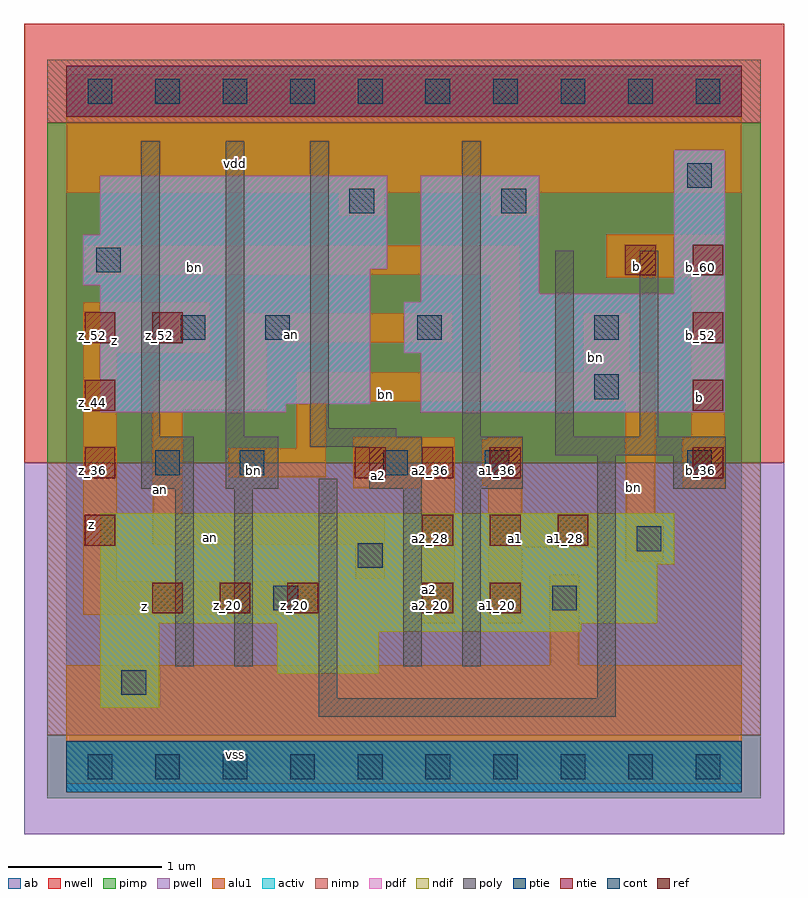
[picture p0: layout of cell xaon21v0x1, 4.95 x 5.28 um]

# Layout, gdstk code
import gdstk
lib = gdstk.Library(unit=1e-6, precision=2.5e-09)
def R(c, l, rs):  # rectangles x0, y0, x1, y1
    for r in rs: c.add(gdstk.rectangle(r[:2], r[2:], *l))
def A(c, l, x, y, w, h, nx, ny, dx, dy):  # array of equal rectangles
    R(c, l, [(x+i*dx, y+j*dy, x+i*dx+w, y+j*dy+h) for i in range(nx) for j in range(ny)])
ndif = (3, 0)
pdif = (4, 0)
ntie = (5, 0)
ptie = (6, 0)
ref = (24, 0)
cont = (25, 0)
pwell = (41, 0)
nwell = (42, 0)
activ = (43, 0)
pimp = (44, 0)
nimp = (45, 0)
poly = (46, 0)
alu1 = (49, 0)
ab = (63, 0)

xaon21v0x1 = lib.new_cell('xaon21v0x1')
R(xaon21v0x1, ndif, [(0.22,0.385,0.605,0.935), (1.375,0.605,2.035,0.88), (1.375,0.88,3.355,0.935), (0.22,0.935,3.85,1.32), (0.22,1.32,3.96,1.65)])
R(xaon21v0x1, pdif, [(0.22,2.31,1.43,2.365), (2.31,2.31,4.29,2.695), (0.22,2.365,1.98,3.135), (2.2,2.695,4.29,3.025), (2.31,3.025,4.29,3.08), (2.31,3.08,3.08,3.85), (3.96,3.08,4.29,4.015), (0.11,3.135,1.98,3.245), (0.11,3.245,2.09,3.465), (0.22,3.465,2.09,3.85)])
R(xaon21v0x1, ntie, [(0,4.235,4.4,4.565)])
R(xaon21v0x1, ptie, [(0,-0.165,4.4,0.165)])
A(xaon21v0x1, ref, 0.56, 1, 0.2, 0.2, 3, 1, 0.44, 0)
A(xaon21v0x1, ref, 0.12, 1.44, 0.2, 0.2, 1, 4, 0, 0.44)
A(xaon21v0x1, ref, 2.32, 1.44, 0.2, 0.2, 3, 1, 0.44, 0)
A(xaon21v0x1, ref, 1.88, 1.88, 0.2, 0.2, 3, 1, 0.44, 0)
A(xaon21v0x1, ref, 4.08, 1.88, 0.2, 0.2, 1, 4, 0, 0.44)
R(xaon21v0x1, ref, [(2.32,1,2.52,1.2), (2.76,1,2.96,1.2), (0.56,2.76,0.76,2.96), (3.64,3.2,3.84,3.4)])
A(xaon21v0x1, cont, 0.14, -0.08, 0.16, 0.16, 10, 2, 0.44, 4.4)
R(xaon21v0x1, cont, [(0.36,0.47,0.52,0.63), (1.35,1.02,1.51,1.18), (3.165,1.02,3.325,1.18), (1.9,1.295,2.06,1.455), (3.715,1.405,3.875,1.565), (0.58,1.9,0.74,2.06), (1.13,1.9,1.29,2.06), (2.065,1.9,2.225,2.06), (2.725,1.9,2.885,2.06), (4.045,1.9,4.205,2.06), (3.44,2.395,3.6,2.555), (0.745,2.78,0.905,2.94), (1.295,2.78,1.455,2.94), (2.285,2.78,2.445,2.94), (3.44,2.78,3.6,2.94), (0.195,3.22,0.355,3.38), (1.845,3.605,2.005,3.765), (2.835,3.605,2.995,3.765), (4.045,3.77,4.205,3.93)])
R(xaon21v0x1, pwell, [(-0.275,-0.44,4.675,1.98)])
R(xaon21v0x1, nwell, [(-0.275,1.98,4.675,4.84)])
R(xaon21v0x1, activ, [(0,-0.165,4.4,0.165), (0.22,0.385,0.605,0.935), (1.375,0.605,2.035,0.88), (1.375,0.88,3.355,0.935), (0.22,0.935,3.85,1.32), (0.22,1.32,3.96,1.65), (0.22,2.31,1.43,2.365), (2.31,2.31,4.29,2.695), (0.22,2.365,1.98,3.135), (2.2,2.695,4.29,3.025), (2.31,3.025,4.29,3.08), (2.31,3.08,3.08,3.85), (3.96,3.08,4.29,4.015), (0.11,3.135,1.98,3.245), (0.11,3.245,2.09,3.465), (0.22,3.465,2.09,3.85), (0,4.235,4.4,4.565)])
R(xaon21v0x1, pimp, [(-0.125,-0.205,4.525,0.205), (-0.125,1.98,4.525,4.195)])
R(xaon21v0x1, nimp, [(-0.125,0.205,4.525,1.98), (-0.125,4.195,4.525,4.605)])
R(xaon21v0x1, poly, [(1.645,0.325,3.58,0.445), (1.645,0.445,1.765,1.875), (3.46,0.445,3.58,2.03), (0.71,0.655,0.83,1.81), (1.095,0.655,1.215,1.81), (2.195,0.655,2.315,1.81), (2.58,0.655,2.7,1.81), (0.49,1.81,0.83,2.15), (1.04,1.81,1.38,2.15), (1.975,1.81,2.315,2.085), (2.58,1.81,2.975,2.15), (3.955,1.81,4.295,2.03), (3.185,2.03,4.295,2.15), (1.59,2.085,2.315,2.15), (0.49,2.15,0.61,4.075), (1.04,2.15,1.16,4.075), (1.59,2.15,2.15,2.205), (2.58,2.15,2.7,4.075), (3.185,2.15,3.305,3.36), (3.735,2.15,3.855,3.36), (1.59,2.205,1.71,4.075)])
R(xaon21v0x1, alu1, [(0,-0.11,4.4,0.66), (3.15,0.66,3.34,1.25), (2.31,0.935,2.53,1.815), (2.75,0.935,2.97,1.43), (0.11,0.99,1.705,1.21), (0.11,1.21,0.33,2.695), (1.885,1.225,2.075,1.445), (3.645,1.335,3.89,1.635), (2.75,1.43,3.465,1.65), (0.565,1.445,2.075,1.635), (0.565,1.635,0.755,2.325), (3.645,1.635,3.835,2.38), (2.75,1.65,2.97,1.83), (1.87,1.815,2.53,2.145), (4.015,1.815,4.29,2.145), (2.71,1.83,2.97,2.13), (1.06,1.885,1.69,2.075), (1.5,2.075,1.69,2.38), (2.75,2.13,2.97,2.145), (4.07,2.145,4.29,3.19), (0.565,2.325,1.305,2.515), (1.5,2.38,3.835,2.57), (1.115,2.515,1.305,2.765), (2.765,2.57,2.955,3.205), (3.37,2.57,3.67,2.955), (0.11,2.695,0.935,3.025), (1.115,2.765,2.515,2.955), (3.52,3.19,4.29,3.465), (0.125,3.205,2.955,3.395), (1.775,3.59,2.075,3.74), (2.765,3.59,3.065,3.74), (0,3.74,4.4,4.51)])
R(xaon21v0x1, ab, [(0,0,4.4,4.4)])
xaon21v0x1.add(gdstk.Label('vss', (1.1,0.0825), layer=49, texttype=0))
xaon21v0x1.add(gdstk.Label('b', (4.125,2.405), layer=49, texttype=0))
xaon21v0x1.add(gdstk.Label('bn', (3.6925,1.82), layer=49, texttype=0))
xaon21v0x1.add(gdstk.Label('a1', (2.9275,1.485), layer=49, texttype=0))
xaon21v0x1.add(gdstk.Label('a2', (2.365,1.155), layer=49, texttype=0))
xaon21v0x1.add(gdstk.Label('z', (0.5075,1.045), layer=49, texttype=0))
xaon21v0x1.add(gdstk.Label('an', (0.9425,1.4925), layer=49, texttype=0))
xaon21v0x1.add(gdstk.Label('a2', (2.035,1.8975), layer=49, texttype=0))
xaon21v0x1.add(gdstk.Label('bn', (1.2175,1.9325), layer=49, texttype=0))
xaon21v0x1.add(gdstk.Label('an', (0.6125,1.8075), layer=49, texttype=0))
xaon21v0x1.add(gdstk.Label('bn', (2.0825,2.4275), layer=49, texttype=0))
xaon21v0x1.add(gdstk.Label('bn', (3.445,2.665), layer=49, texttype=0))
xaon21v0x1.add(gdstk.Label('b', (3.7125,3.2575), layer=49, texttype=0))
xaon21v0x1.add(gdstk.Label('z', (0.165,1.58), layer=49, texttype=0))
xaon21v0x1.add(gdstk.Label('an', (1.465,2.8125), layer=49, texttype=0))
xaon21v0x1.add(gdstk.Label('z', (0.315,2.7775), layer=49, texttype=0))
xaon21v0x1.add(gdstk.Label('bn', (0.8325,3.2525), layer=49, texttype=0))
xaon21v0x1.add(gdstk.Label('vdd', (1.1,3.9325), layer=49, texttype=0))
xaon21v0x1.add(gdstk.Label('b_36', (4.13,1.93), layer=24, texttype=0))
xaon21v0x1.add(gdstk.Label('b_60', (4.13,3.25), layer=24, texttype=0))
xaon21v0x1.add(gdstk.Label('b_52', (4.13,2.81), layer=24, texttype=0))
xaon21v0x1.add(gdstk.Label('b_44', (4.13,2.37), layer=24, texttype=0))
xaon21v0x1.add(gdstk.Label('b_60', (3.69,3.25), layer=24, texttype=0))
xaon21v0x1.add(gdstk.Label('a1_28', (3.25,1.49), layer=24, texttype=0))
xaon21v0x1.add(gdstk.Label('a1_36', (2.81,1.93), layer=24, texttype=0))
xaon21v0x1.add(gdstk.Label('a1_28', (2.81,1.49), layer=24, texttype=0))
xaon21v0x1.add(gdstk.Label('a1_20', (2.81,1.05), layer=24, texttype=0))
xaon21v0x1.add(gdstk.Label('a2_36', (2.37,1.93), layer=24, texttype=0))
xaon21v0x1.add(gdstk.Label('a2_28', (2.37,1.49), layer=24, texttype=0))
xaon21v0x1.add(gdstk.Label('a2_20', (2.37,1.05), layer=24, texttype=0))
xaon21v0x1.add(gdstk.Label('z_52', (0.17,2.81), layer=24, texttype=0))
xaon21v0x1.add(gdstk.Label('z_44', (0.17,2.37), layer=24, texttype=0))
xaon21v0x1.add(gdstk.Label('z_36', (0.17,1.93), layer=24, texttype=0))
xaon21v0x1.add(gdstk.Label('z_28', (0.17,1.49), layer=24, texttype=0))
xaon21v0x1.add(gdstk.Label('a2_36', (1.93,1.93), layer=24, texttype=0))
xaon21v0x1.add(gdstk.Label('z_20', (1.49,1.05), layer=24, texttype=0))
xaon21v0x1.add(gdstk.Label('z_20', (1.05,1.05), layer=24, texttype=0))
xaon21v0x1.add(gdstk.Label('z_52', (0.61,2.81), layer=24, texttype=0))
xaon21v0x1.add(gdstk.Label('z_20', (0.61,1.05), layer=24, texttype=0))

lib.write_gds('xaon21v0x1.gds')
